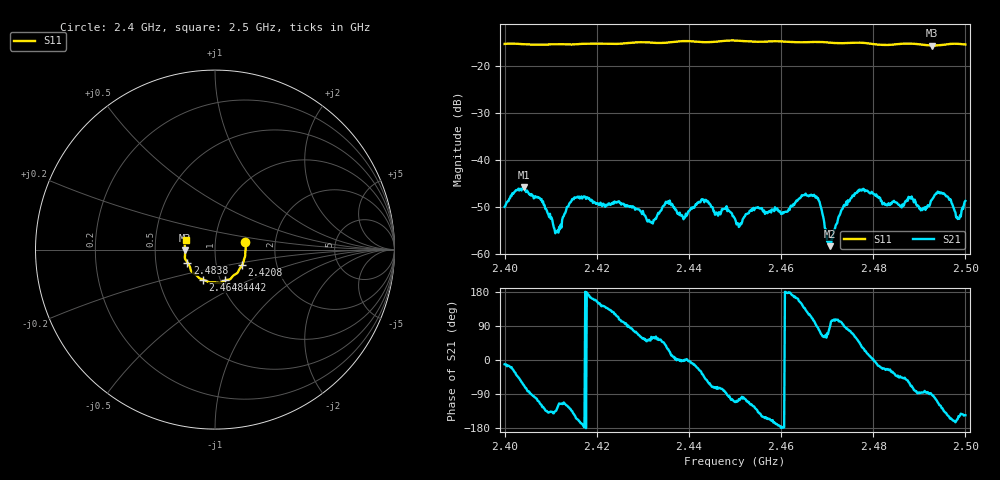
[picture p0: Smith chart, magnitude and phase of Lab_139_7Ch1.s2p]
# Hz S RI R 50
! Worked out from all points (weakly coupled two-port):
!   601 points, 2.4 GHz to 2.5 GHz, reference 50 ohm
!   highest |S21| = -45.80 dB at 2.4042 GHz (marker M1); lowest = -58.4 dB at 2.4707 GHz (marker M2)
!   lowest |S11| = -15.6 dB at 2.4928 GHz (marker M3), VSWR 1.40, Z = 35.8 - j0.362 ohm
!   |S11| at or under -10 dB: start of sweep to end of sweep
!   S12 and S22 are empty: the file has one direction only
!   S11 on the Smith chart (normalised r, x): 2.4 GHz: 1.40, +0.12; 2.4208 GHz: 1.33, -0.24; 2.4442 GHz: 1.05, -0.37; 2.4648 GHz: 0.83, -0.29; 2.4838 GHz: 0.73, -0.11; 2.5 GHz: 0.72, +0.08
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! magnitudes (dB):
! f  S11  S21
! 2.4 GHz  -15.2  -50.0
! 2.4042 GHz  -15.3  -45.8
! 2.4078 GHz  -15.4  -48.4
! 2.4112 GHz  -15.3  -55.3
! 2.4167 GHz  -15.2  -47.7
! 2.4208 GHz  -15.2  -49.1
! 2.4333 GHz  -15.0  -51.3
! 2.4442 GHz  -14.9  -48.8
! 2.45 GHz  -14.5  -52.5
! 2.461 GHz  -14.8  -51.0
! 2.4648 GHz  -14.9  -47.5
! 2.4667 GHz  -14.8  -47.5
! 2.4682 GHz  -14.8  -48.6
! 2.4707 GHz  -15.0  -58.4
! 2.4732 GHz  -15.1  -50.5
! 2.4765 GHz  -15.0  -47.0
! 2.4833 GHz  -15.5  -49.2
! 2.4838 GHz  -15.4  -49.2
! 2.4928 GHz  -15.6  -48.3
! 2.4957 GHz  -15.4  -47.5
! 2.4985 GHz  -15.2  -52.4
! 2.5 GHz  -15.4  -48.7
